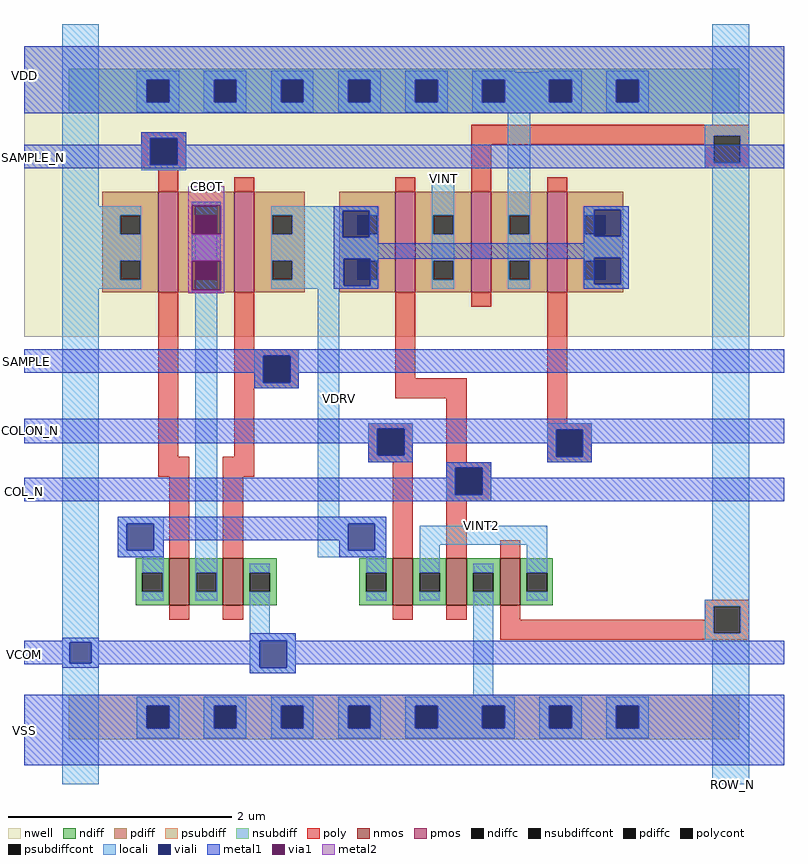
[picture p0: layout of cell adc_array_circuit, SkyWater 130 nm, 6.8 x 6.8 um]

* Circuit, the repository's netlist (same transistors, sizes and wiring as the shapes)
** sch_path: /foss/designs/SKY130_SAR-ADC/xschem/adc_array_cap/adc_array_circuit.sch
**.subckt adc_array_circuit SAMPLE_N SAMPLE VCOM ROW_N COL_N COLON_N VDD VSS CBOT
*.ipin SAMPLE_N
*.ipin SAMPLE
*.iopin VCOM
*.ipin ROW_N
*.ipin COL_N
*.ipin COLON_N
*.iopin VDD
*.iopin VSS
*.iopin CBOT
XM1 VCOM SAMPLE CBOT VSS sky130_fd_pr__nfet_01v8 L=0.18 W=0.42 nf=1 ad='int((nf+1)/2) * W/nf * 0.29'
+ as='int((nf+2)/2) * W/nf * 0.29' pd='2*int((nf+1)/2) * (W/nf + 0.29)' ps='2*int((nf+2)/2) * (W/nf + 0.29)'
+ nrd='0.29 / W' nrs='0.29 / W' sa=0 sb=0 sd=0 mult=1 m=1
XM3 VCOM SAMPLE_N CBOT VDD sky130_fd_pr__pfet_01v8 L=0.18 W=0.9 nf=1 ad='int((nf+1)/2) * W/nf * 0.29'
+ as='int((nf+2)/2) * W/nf * 0.29' pd='2*int((nf+1)/2) * (W/nf + 0.29)' ps='2*int((nf+2)/2) * (W/nf + 0.29)'
+ nrd='0.29 / W' nrs='0.29 / W' sa=0 sb=0 sd=0 mult=1 m=1
XM2 VDRV SAMPLE_N CBOT VSS sky130_fd_pr__nfet_01v8 L=0.18 W=0.42 nf=1 ad='int((nf+1)/2) * W/nf * 0.29'
+ as='int((nf+2)/2) * W/nf * 0.29' pd='2*int((nf+1)/2) * (W/nf + 0.29)' ps='2*int((nf+2)/2) * (W/nf + 0.29)'
+ nrd='0.29 / W' nrs='0.29 / W' sa=0 sb=0 sd=0 mult=1 m=1
XM4 VDRV SAMPLE CBOT VDD sky130_fd_pr__pfet_01v8 L=0.18 W=0.9 nf=1 ad='int((nf+1)/2) * W/nf * 0.29' as='int((nf+2)/2) * W/nf * 0.29'
+ pd='2*int((nf+1)/2) * (W/nf + 0.29)' ps='2*int((nf+2)/2) * (W/nf + 0.29)' nrd='0.29 / W' nrs='0.29 / W'
+ sa=0 sb=0 sd=0 mult=1 m=1
XM5 VINT1 COL_N VDRV VDD sky130_fd_pr__pfet_01v8 L=0.18 W=0.9 nf=1 ad='int((nf+1)/2) * W/nf * 0.29' as='int((nf+2)/2) * W/nf * 0.29'
+ pd='2*int((nf+1)/2) * (W/nf + 0.29)' ps='2*int((nf+2)/2) * (W/nf + 0.29)' nrd='0.29 / W' nrs='0.29 / W'
+ sa=0 sb=0 sd=0 mult=1 m=1
XM6 VDD ROW_N VINT1 VDD sky130_fd_pr__pfet_01v8 L=0.18 W=0.9 nf=1 ad='int((nf+1)/2) * W/nf * 0.29' as='int((nf+2)/2) * W/nf * 0.29'
+ pd='2*int((nf+1)/2) * (W/nf + 0.29)' ps='2*int((nf+2)/2) * (W/nf + 0.29)' nrd='0.29 / W' nrs='0.29 / W'
+ sa=0 sb=0 sd=0 mult=1 m=1
XM7 VDD COLON_N VDRV VDD sky130_fd_pr__pfet_01v8 L=0.18 W=0.9 nf=1 ad='int((nf+1)/2) * W/nf * 0.29' as='int((nf+2)/2) * W/nf * 0.29'
+ pd='2*int((nf+1)/2) * (W/nf + 0.29)' ps='2*int((nf+2)/2) * (W/nf + 0.29)' nrd='0.29 / W' nrs='0.29 / W'
+ sa=0 sb=0 sd=0 mult=1 m=1
XM8 VINT2 COLON_N VDRV VSS sky130_fd_pr__nfet_01v8 L=0.18 W=0.42 nf=1 ad='int((nf+1)/2) * W/nf * 0.29'
+ as='int((nf+2)/2) * W/nf * 0.29' pd='2*int((nf+1)/2) * (W/nf + 0.29)' ps='2*int((nf+2)/2) * (W/nf + 0.29)'
+ nrd='0.29 / W' nrs='0.29 / W' sa=0 sb=0 sd=0 mult=1 m=1
XM9 VSS ROW_N VINT2 VSS sky130_fd_pr__nfet_01v8 L=0.18 W=0.42 nf=1 ad='int((nf+1)/2) * W/nf * 0.29' as='int((nf+2)/2) * W/nf * 0.29'
+ pd='2*int((nf+1)/2) * (W/nf + 0.29)' ps='2*int((nf+2)/2) * (W/nf + 0.29)' nrd='0.29 / W' nrs='0.29 / W'
+ sa=0 sb=0 sd=0 mult=1 m=1
XM10 VSS COL_N VINT2 VSS sky130_fd_pr__nfet_01v8 L=0.18 W=0.42 nf=1 ad='int((nf+1)/2) * W/nf * 0.29'
+ as='int((nf+2)/2) * W/nf * 0.29' pd='2*int((nf+1)/2) * (W/nf + 0.29)' ps='2*int((nf+2)/2) * (W/nf + 0.29)'
+ nrd='0.29 / W' nrs='0.29 / W' sa=0 sb=0 sd=0 mult=1 m=1
**.ends
.end

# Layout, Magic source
magic
tech sky130A
<< nwell >>
rect 0 400 680 660
<< nmos >>
rect 130 160 148 202
rect 178 160 196 202
rect 330 160 348 202
rect 378 160 396 202
rect 426 160 444 202
<< pmos >>
rect 120 440 138 530
rect 188 440 206 530
rect 332 440 350 530
rect 400 440 418 530
rect 468 440 486 530
<< ndiff >>
rect 100 189 130 202
rect 100 172 106 189
rect 124 172 130 189
rect 100 160 130 172
rect 148 189 178 202
rect 148 172 154 189
rect 172 172 178 189
rect 148 160 178 172
rect 196 189 226 202
rect 196 172 202 189
rect 220 172 226 189
rect 196 160 226 172
rect 300 189 330 202
rect 300 172 306 189
rect 324 172 330 189
rect 300 160 330 172
rect 348 189 378 202
rect 348 172 354 189
rect 372 172 378 189
rect 348 160 378 172
rect 396 189 426 202
rect 396 172 402 189
rect 420 172 426 189
rect 396 160 426 172
rect 444 189 473 202
rect 444 172 450 189
rect 468 172 473 189
rect 444 160 473 172
<< pdiff >>
rect 70 509 120 530
rect 70 492 86 509
rect 104 492 120 509
rect 70 468 120 492
rect 70 451 86 468
rect 104 451 120 468
rect 70 440 120 451
rect 138 509 188 530
rect 138 492 154 509
rect 172 492 188 509
rect 138 468 188 492
rect 138 451 154 468
rect 172 451 188 468
rect 138 440 188 451
rect 206 509 251 530
rect 206 492 222 509
rect 240 492 251 509
rect 206 468 251 492
rect 206 451 222 468
rect 240 451 251 468
rect 206 440 251 451
rect 282 509 332 530
rect 282 492 298 509
rect 316 492 332 509
rect 282 468 332 492
rect 282 451 298 468
rect 316 451 332 468
rect 282 440 332 451
rect 350 509 400 530
rect 350 492 366 509
rect 384 492 400 509
rect 350 468 400 492
rect 350 451 366 468
rect 384 451 400 468
rect 350 440 400 451
rect 418 509 468 530
rect 418 492 434 509
rect 452 492 468 509
rect 418 468 468 492
rect 418 451 434 468
rect 452 451 468 468
rect 418 440 468 451
rect 486 509 536 530
rect 486 492 502 509
rect 520 492 536 509
rect 486 468 536 492
rect 486 451 502 468
rect 520 451 536 468
rect 486 440 536 451
<< ndiffc >>
rect 106 172 124 189
rect 154 172 172 189
rect 202 172 220 189
rect 306 172 324 189
rect 354 172 372 189
rect 402 172 420 189
rect 450 172 468 189
<< pdiffc >>
rect 86 492 104 509
rect 86 451 104 468
rect 154 492 172 509
rect 154 451 172 468
rect 222 492 240 509
rect 222 451 240 468
rect 298 492 316 509
rect 298 451 316 468
rect 366 492 384 509
rect 366 451 384 468
rect 434 492 452 509
rect 434 451 452 468
rect 502 492 520 509
rect 502 451 520 468
<< psubdiff >>
rect 40 70 640 80
rect 40 50 110 70
rect 130 50 170 70
rect 190 50 230 70
rect 250 50 290 70
rect 310 50 350 70
rect 370 50 410 70
rect 430 50 470 70
rect 490 50 530 70
rect 550 50 640 70
rect 40 40 640 50
<< nsubdiff >>
rect 40 630 640 640
rect 40 610 110 630
rect 130 610 170 630
rect 190 610 230 630
rect 250 610 290 630
rect 310 610 350 630
rect 370 610 410 630
rect 430 610 470 630
rect 490 610 530 630
rect 550 610 640 630
rect 40 600 640 610
<< psubdiffcont >>
rect 110 50 130 70
rect 170 50 190 70
rect 230 50 250 70
rect 290 50 310 70
rect 350 50 370 70
rect 410 50 430 70
rect 470 50 490 70
rect 530 50 550 70
<< nsubdiffcont >>
rect 110 610 130 630
rect 170 610 190 630
rect 230 610 250 630
rect 290 610 310 630
rect 350 610 370 630
rect 410 610 430 630
rect 470 610 490 630
rect 530 610 550 630
<< poly >>
rect 105 578 145 583
rect 105 554 113 578
rect 137 554 145 578
rect 105 549 145 554
rect 400 580 649 590
rect 400 572 617 580
rect 120 530 138 549
rect 188 530 206 543
rect 332 530 350 543
rect 400 530 418 572
rect 609 556 617 572
rect 641 556 649 580
rect 609 551 649 556
rect 468 530 486 543
rect 120 293 138 440
rect 188 389 206 440
rect 188 383 246 389
rect 188 359 214 383
rect 238 359 246 383
rect 188 354 246 359
rect 332 363 350 440
rect 400 427 418 440
rect 188 293 206 354
rect 332 345 396 363
rect 120 275 148 293
rect 130 202 148 275
rect 178 275 206 293
rect 308 318 348 323
rect 308 294 316 318
rect 340 294 348 318
rect 308 288 348 294
rect 178 202 196 275
rect 330 202 348 288
rect 378 288 396 345
rect 468 323 486 440
rect 468 317 508 323
rect 468 293 476 317
rect 500 293 508 317
rect 468 288 508 293
rect 378 283 418 288
rect 378 259 386 283
rect 410 259 418 283
rect 378 253 418 259
rect 378 202 396 253
rect 426 202 444 218
rect 130 147 148 160
rect 178 147 196 160
rect 330 147 348 160
rect 378 147 396 160
rect 426 147 444 160
rect 609 159 649 165
rect 609 147 617 159
rect 426 135 617 147
rect 641 135 649 159
rect 426 129 649 135
<< polycont >>
rect 113 554 137 578
rect 617 556 641 580
rect 214 359 238 383
rect 316 294 340 318
rect 476 293 500 317
rect 386 259 410 283
rect 617 135 641 159
<< locali >>
rect 34 517 67 680
rect 101 630 139 638
rect 101 610 110 630
rect 130 610 139 630
rect 101 601 139 610
rect 161 630 199 638
rect 161 610 170 630
rect 190 610 199 630
rect 161 601 199 610
rect 221 630 259 638
rect 221 610 230 630
rect 250 610 259 630
rect 221 601 259 610
rect 281 630 319 638
rect 281 610 290 630
rect 310 610 319 630
rect 281 601 319 610
rect 341 630 379 638
rect 341 610 350 630
rect 370 610 379 630
rect 341 601 379 610
rect 401 637 439 638
rect 461 637 499 638
rect 401 630 499 637
rect 401 610 410 630
rect 430 610 470 630
rect 490 610 499 630
rect 401 601 499 610
rect 521 630 559 638
rect 521 610 530 630
rect 550 610 559 630
rect 521 601 559 610
rect 419 600 481 601
rect 105 578 145 583
rect 105 554 113 578
rect 137 554 145 578
rect 105 549 145 554
rect 34 509 105 517
rect 34 492 86 509
rect 104 492 105 509
rect 34 468 105 492
rect 34 451 86 468
rect 104 451 105 468
rect 34 443 105 451
rect 153 509 173 517
rect 153 492 154 509
rect 172 492 173 509
rect 153 468 173 492
rect 153 451 154 468
rect 172 451 173 468
rect 34 127 67 443
rect 84 233 125 239
rect 84 209 92 233
rect 116 209 125 233
rect 84 203 125 209
rect 106 189 125 203
rect 124 172 125 189
rect 106 164 125 172
rect 153 189 173 451
rect 221 513 317 517
rect 221 509 285 513
rect 309 509 317 513
rect 221 492 222 509
rect 240 492 285 509
rect 316 492 317 509
rect 221 489 285 492
rect 309 489 317 492
rect 221 470 317 489
rect 221 468 286 470
rect 310 468 317 470
rect 221 451 222 468
rect 240 451 286 468
rect 316 451 317 468
rect 221 446 286 451
rect 310 446 317 451
rect 221 443 317 446
rect 365 509 385 542
rect 365 492 366 509
rect 384 492 385 509
rect 365 468 385 492
rect 365 451 366 468
rect 384 451 385 468
rect 365 443 385 451
rect 433 509 453 600
rect 616 590 649 680
rect 609 580 649 590
rect 609 556 617 580
rect 641 556 649 580
rect 609 551 649 556
rect 433 492 434 509
rect 452 492 453 509
rect 433 468 453 492
rect 433 451 434 468
rect 452 451 453 468
rect 433 443 453 451
rect 501 514 541 517
rect 501 509 510 514
rect 501 492 502 509
rect 501 490 510 492
rect 534 490 541 514
rect 501 471 541 490
rect 501 468 510 471
rect 501 451 502 468
rect 501 447 510 451
rect 534 447 541 471
rect 501 443 541 447
rect 206 383 246 389
rect 206 359 214 383
rect 238 359 246 383
rect 206 354 246 359
rect 263 239 282 443
rect 308 318 348 323
rect 308 294 316 318
rect 340 294 348 318
rect 308 288 348 294
rect 468 317 508 323
rect 468 293 476 317
rect 500 293 508 317
rect 468 288 508 293
rect 378 283 418 288
rect 378 259 386 283
rect 410 259 418 283
rect 378 253 418 259
rect 263 233 324 239
rect 263 209 290 233
rect 314 209 324 233
rect 263 203 324 209
rect 153 172 154 189
rect 172 172 173 189
rect 153 164 173 172
rect 202 189 220 197
rect 34 108 41 127
rect 60 108 67 127
rect 34 0 67 108
rect 202 135 220 172
rect 306 189 324 203
rect 306 164 324 172
rect 354 214 468 231
rect 354 189 372 214
rect 354 164 372 172
rect 402 189 420 197
rect 202 128 243 135
rect 202 104 211 128
rect 235 104 243 128
rect 202 99 243 104
rect 402 78 420 172
rect 450 189 468 214
rect 450 164 468 172
rect 616 165 649 551
rect 609 159 649 165
rect 609 135 617 159
rect 641 135 649 159
rect 609 129 649 135
rect 101 70 139 78
rect 101 50 110 70
rect 130 50 139 70
rect 101 41 139 50
rect 161 70 199 78
rect 161 50 170 70
rect 190 50 199 70
rect 161 41 199 50
rect 221 70 259 78
rect 221 50 230 70
rect 250 50 259 70
rect 221 41 259 50
rect 281 70 319 78
rect 281 50 290 70
rect 310 50 319 70
rect 281 41 319 50
rect 341 70 439 78
rect 341 50 350 70
rect 370 50 410 70
rect 430 50 439 70
rect 341 41 439 50
rect 461 70 499 78
rect 461 50 470 70
rect 490 50 499 70
rect 461 41 499 50
rect 521 70 559 78
rect 521 50 530 70
rect 550 50 559 70
rect 521 41 559 50
rect 616 0 649 129
<< viali >>
rect 110 610 130 630
rect 170 610 190 630
rect 230 610 250 630
rect 290 610 310 630
rect 350 610 370 630
rect 410 610 430 630
rect 470 610 490 630
rect 530 610 550 630
rect 113 554 137 578
rect 154 492 172 509
rect 154 451 172 468
rect 92 209 116 233
rect 285 509 309 513
rect 285 492 298 509
rect 298 492 309 509
rect 285 489 309 492
rect 286 468 310 470
rect 286 451 298 468
rect 298 451 310 468
rect 286 446 310 451
rect 510 509 534 514
rect 510 492 520 509
rect 520 492 534 509
rect 510 490 534 492
rect 510 468 534 471
rect 510 451 520 468
rect 520 451 534 468
rect 510 447 534 451
rect 214 359 238 383
rect 316 294 340 318
rect 476 293 500 317
rect 386 259 410 283
rect 290 209 314 233
rect 41 108 60 127
rect 211 104 235 128
rect 110 50 130 70
rect 170 50 190 70
rect 230 50 250 70
rect 290 50 310 70
rect 350 50 370 70
rect 410 50 430 70
rect 470 50 490 70
rect 530 50 550 70
<< metal1 >>
rect 0 630 680 660
rect 0 610 110 630
rect 130 610 170 630
rect 190 610 230 630
rect 250 610 290 630
rect 310 610 350 630
rect 370 610 410 630
rect 430 610 470 630
rect 490 610 530 630
rect 550 610 680 630
rect 0 600 680 610
rect 105 578 145 583
rect 105 572 113 578
rect 0 554 113 572
rect 137 572 145 578
rect 137 554 680 572
rect 0 551 680 554
rect 150 518 176 521
rect 150 468 176 492
rect 277 513 317 517
rect 277 489 285 513
rect 309 489 317 513
rect 277 484 317 489
rect 501 514 541 517
rect 501 490 510 514
rect 534 490 541 514
rect 501 484 541 490
rect 277 471 541 484
rect 277 470 510 471
rect 277 446 286 470
rect 310 446 317 470
rect 277 443 317 446
rect 501 447 510 470
rect 534 447 541 471
rect 501 443 541 447
rect 150 439 176 442
rect 0 383 680 389
rect 0 368 214 383
rect 206 359 214 368
rect 238 368 680 383
rect 238 359 246 368
rect 206 354 246 359
rect 0 318 680 327
rect 0 305 316 318
rect 308 294 316 305
rect 340 317 680 318
rect 340 305 476 317
rect 340 294 348 305
rect 308 288 348 294
rect 468 293 476 305
rect 500 305 680 317
rect 500 293 508 305
rect 468 288 508 293
rect 378 283 418 288
rect 378 274 386 283
rect 0 259 386 274
rect 410 274 418 283
rect 410 259 680 274
rect 0 253 680 259
rect 84 233 324 239
rect 84 209 92 233
rect 116 218 290 233
rect 116 209 125 218
rect 84 203 125 209
rect 282 209 290 218
rect 314 209 324 233
rect 282 203 324 209
rect 34 128 67 131
rect 202 128 243 135
rect 0 127 211 128
rect 0 108 41 127
rect 60 108 211 127
rect 0 107 211 108
rect 34 104 67 107
rect 202 104 211 107
rect 235 107 680 128
rect 235 104 243 107
rect 202 99 243 104
rect 0 70 680 80
rect 0 50 110 70
rect 130 50 170 70
rect 190 50 230 70
rect 250 50 290 70
rect 310 50 350 70
rect 370 50 410 70
rect 430 50 470 70
rect 490 50 530 70
rect 550 50 680 70
rect 0 17 680 50
<< via1 >>
rect 150 509 176 518
rect 150 492 154 509
rect 154 492 172 509
rect 172 492 176 509
rect 150 451 154 468
rect 154 451 172 468
rect 172 451 176 468
rect 150 442 176 451
<< metal2 >>
rect 147 518 179 535
rect 147 492 150 518
rect 176 492 179 518
rect 147 468 179 492
rect 147 442 150 468
rect 176 442 179 468
rect 147 439 179 442
<< labels >>
rlabel metal1 0 634 0 634 7 VDD
port 1 w
rlabel metal1 0 48 0 48 7 VSS
port 6 w
rlabel locali 634 0 634 0 5 ROW_N
port 7 s
rlabel metal1 0 561 0 561 7 SAMPLE_N
port 2 w
rlabel locali 375 542 375 542 1 VINT
port 10 n
rlabel metal1 0 378 0 378 7 SAMPLE
port 3 w
rlabel metal1 0 262 0 262 7 COL_N
port 5 w
rlabel metal1 0 116 0 116 7 VCOM
port 8 w
rlabel metal2 163 535 163 535 1 CBOT
port 9 n
rlabel metal1 0 316 0 316 7 COLON_N
port 4 w
rlabel locali 282 345 282 345 3 VDRV
port 12 e
rlabel locali 409 231 409 231 1 VINT2
port 11 n
<< end >>
